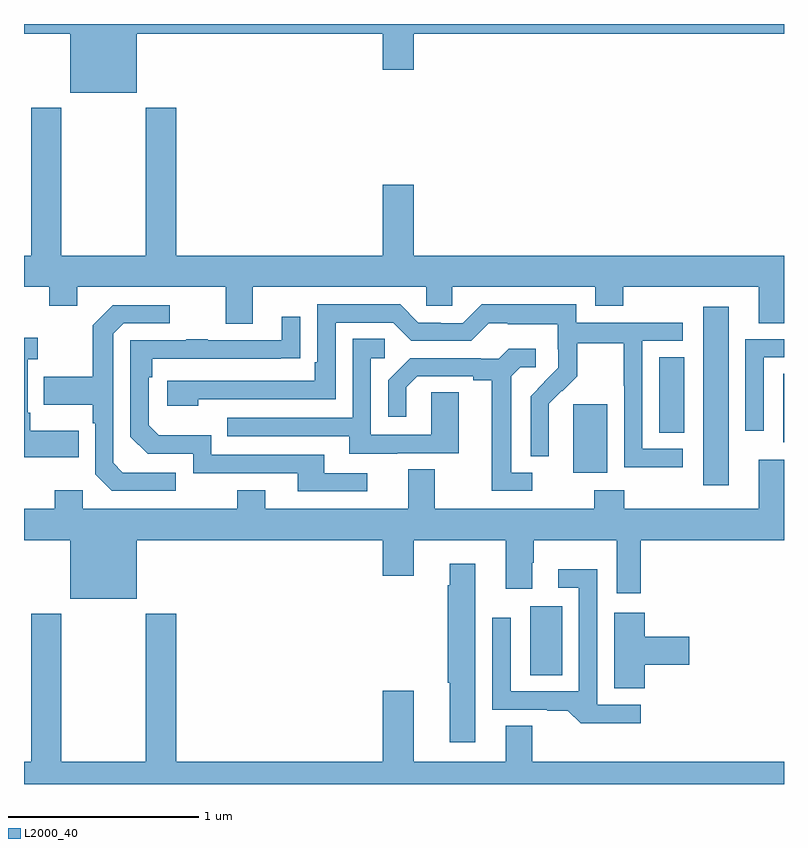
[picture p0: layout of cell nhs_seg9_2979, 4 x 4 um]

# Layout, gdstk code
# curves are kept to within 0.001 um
import gdstk
lib = gdstk.Library(unit=1e-6, precision=1e-09)
def R(c, l, rs):  # rectangles x0, y0, x1, y1
    for r in rs: c.add(gdstk.rectangle(r[:2], r[2:], *l))
def P(c, l, *ps):  # polygons
    for p in ps: c.add(gdstk.Polygon(p, *l))
L2000_40 = (2000, 40)

nhs_seg9_2979 = lib.new_cell('nhs_seg9_2979')
R(nhs_seg9_2979, L2000_40, [(285.665,1165.072,285.832,1165.435), (286.574,1166.073,286.708,1167.013), (285.89,1166.138,286.069,1166.499), (286.997,1166.298,287,1166.66), (286.343,1166.35,286.474,1166.747)])
P(nhs_seg9_2979, L2000_40, [(283.594,1168.448),(284.888,1168.448),(284.888,1168.26),(285.052,1168.26),(285.052,1168.448),(287,1168.448),(287,1168.5),(283,1168.5),(283,1168.448),(283.244,1168.448),(283.244,1168.139),(283.594,1168.139)],
  [(284.203,1167.116),(285.117,1167.116),(285.117,1167.018),(285.255,1167.018),(285.255,1167.116),(286.007,1167.116),(286.007,1167.017),(286.155,1167.017),(286.155,1167.116),(286.868,1167.116),(286.868,1166.926),(287,1166.926),(287,1167.28),(285.052,1167.28),(285.052,1167.655),(284.888,1167.655),(284.888,1167.28),(283.802,1167.28),(283.802,1168.06),(283.642,1168.06),(283.642,1167.28),(283.197,1167.28),(283.197,1168.06),(283.037,1168.06),(283.037,1167.28),(283,1167.28),(283,1167.116),(283.132,1167.116),(283.132,1167.017),(283.279,1167.017),(283.279,1167.116),(284.063,1167.116),(284.063,1166.922),(284.203,1166.922)],
  [(286.468,1166.265),(286.254,1166.265),(286.254,1166.832),(286.468,1166.832),(286.468,1166.928),(285.906,1166.928),(285.906,1167.025),(285.409,1167.025),(285.309,1166.925),(285.194,1166.925),(285.194,1166.928),(285.075,1166.928),(284.979,1167.024),(284.544,1167.024),(284.544,1166.719),(284.531,1166.719),(284.531,1166.622),(283.755,1166.622),(283.755,1166.492),(283.916,1166.492),(283.916,1166.526),(284.64,1166.526),(284.64,1166.928),(284.943,1166.928),(285.039,1166.832),(285.354,1166.832),(285.447,1166.925),(285.547,1166.925),(285.547,1166.921),(285.81,1166.921),(285.81,1166.787),(285.812,1166.787),(285.812,1166.69),(285.666,1166.542),(285.666,1166.224),(285.762,1166.224),(285.761,1166.501),(285.831,1166.571),(285.834,1166.568),(285.911,1166.645),(285.911,1166.82),(286.156,1166.82),(286.156,1166.596),(286.158,1166.596),(286.158,1166.167),(286.468,1166.167)],
  [(283.798,1166.139),(283.521,1166.139),(283.47,1166.19),(283.47,1166.871),(283.524,1166.925),(283.768,1166.925),(283.768,1167.021),(283.467,1167.021),(283.362,1166.915),(283.362,1166.643),(283.105,1166.643),(283.105,1166.495),(283.362,1166.495),(283.362,1166.399),(283.374,1166.399),(283.374,1166.13),(283.461,1166.043),(283.798,1166.043)],
  [(284.806,1166.136),(284.581,1166.136),(284.581,1166.232),(283.986,1166.232),(283.986,1166.335),(283.709,1166.335),(283.656,1166.388),(283.656,1166.642),(283.676,1166.642),(283.676,1166.739),(284.453,1166.74),(284.453,1166.959),(284.357,1166.959),(284.357,1166.835),(283.967,1166.835),(283.967,1166.84),(283.855,1166.84),(283.855,1166.835),(283.56,1166.835),(283.56,1166.328),(283.65,1166.238),(283.89,1166.238),(283.89,1166.136),(284.441,1166.136),(284.441,1166.04),(284.806,1166.04)],
  [(283.289,1166.359),(283.033,1166.359),(283.033,1166.455),(283.02,1166.455),(283.02,1166.735),(283.072,1166.735),(283.072,1166.848),(283,1166.848),(283,1166.219),(283.289,1166.219)],
  [(284.965,1166.241),(285.289,1166.241),(285.289,1166.561),(285.144,1166.561),(285.144,1166.337),(284.826,1166.337),(284.826,1166.742),(284.899,1166.742),(284.899,1166.843),(284.73,1166.843),(284.73,1166.427),(284.071,1166.427),(284.071,1166.331),(284.711,1166.331),(284.711,1166.237),(284.965,1166.237)],
  [(286.893,1166.745),(287,1166.745),(287,1166.841),(286.797,1166.841),(286.797,1166.358),(286.893,1166.358)],
  [(285.676,1166.139),(285.565,1166.139),(285.565,1166.647),(285.612,1166.694),(285.694,1166.694),(285.694,1166.791),(285.55,1166.791),(285.498,1166.739),(285.404,1166.739),(285.404,1166.742),(285.032,1166.742),(284.916,1166.626),(284.916,1166.433),(285.013,1166.433),(285.013,1166.589),(285.07,1166.646),(285.365,1166.646),(285.365,1166.624),(285.461,1166.624),(285.461,1166.043),(285.676,1166.043)],
  [(283.594,1165.784),(284.888,1165.784),(284.888,1165.596),(285.052,1165.596),(285.052,1165.784),(285.536,1165.784),(285.536,1165.527),(285.676,1165.527),(285.676,1165.664),(285.684,1165.664),(285.684,1165.784),(286.121,1165.784),(286.121,1165.503),(286.247,1165.503),(286.247,1165.784),(287,1165.784),(287,1166.206),(286.868,1166.206),(286.868,1165.948),(286.16,1165.948),(286.16,1166.047),(286,1166.047),(286,1165.948),(285.163,1165.948),(285.163,1166.156),(285.023,1166.156),(285.023,1165.948),(284.269,1165.948),(284.269,1166.047),(284.122,1166.047),(284.122,1165.948),(283.308,1165.948),(283.308,1166.047),(283.162,1166.047),(283.162,1165.948),(283,1165.948),(283,1165.784),(283.244,1165.784),(283.244,1165.475),(283.594,1165.475)],
  [(285.376,1165.66),(285.242,1165.66),(285.242,1165.547),(285.23,1165.547),(285.23,1165.032),(285.242,1165.032),(285.242,1164.72),(285.376,1164.72)],
  [(286.246,1164.918),(286.017,1164.918),(286.017,1165.63),(285.813,1165.63),(285.813,1165.533),(285.921,1165.533),(285.921,1164.987),(285.561,1164.987),(285.561,1165.375),(285.465,1165.375),(285.465,1164.891),(285.755,1164.891),(285.755,1164.886),(285.863,1164.886),(285.929,1164.821),(286.246,1164.821)],
  [(286.268,1165.127),(286.501,1165.127),(286.501,1165.274),(286.268,1165.274),(286.268,1165.402),(286.106,1165.402),(286.106,1165.003),(286.268,1165.003)],
  [(287,1164.616),(285.676,1164.616),(285.676,1164.806),(285.536,1164.806),(285.536,1164.616),(285.052,1164.616),(285.052,1164.991),(284.888,1164.991),(284.888,1164.616),(283.802,1164.616),(283.802,1165.396),(283.642,1165.396),(283.642,1164.616),(283.197,1164.616),(283.197,1165.396),(283.037,1165.396),(283.037,1164.616),(283,1164.616),(283,1164.5),(287,1164.5)])

lib.write_gds('nhs_seg9_2979.gds')
